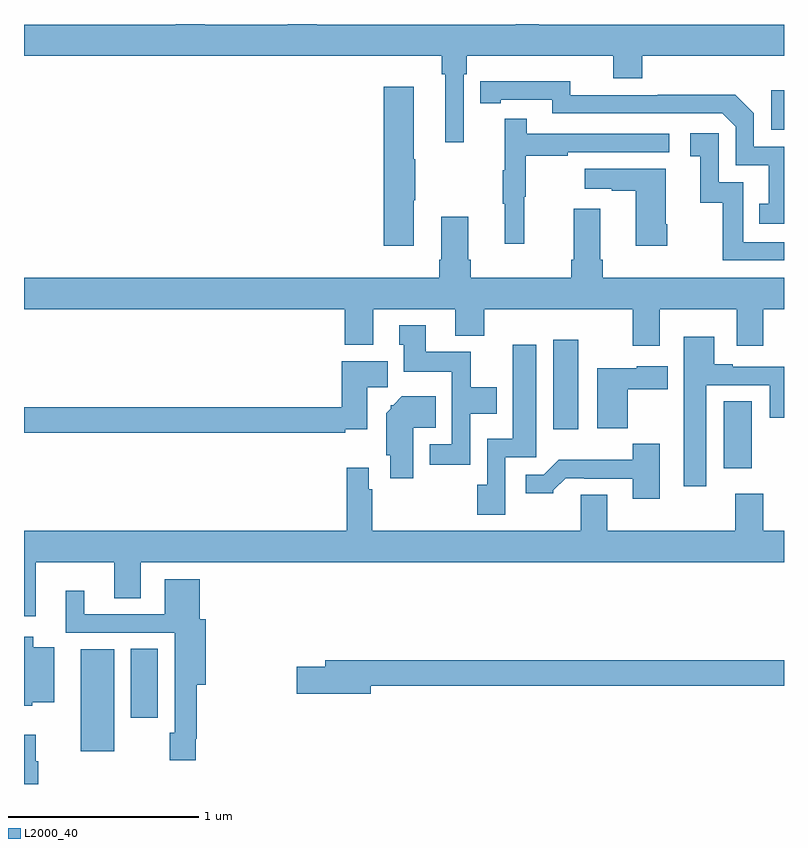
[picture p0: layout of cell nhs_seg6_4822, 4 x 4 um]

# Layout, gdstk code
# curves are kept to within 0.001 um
import gdstk
lib = gdstk.Library(unit=1e-6, precision=1e-09)
def R(c, l, rs):  # rectangles x0, y0, x1, y1
    for r in rs: c.add(gdstk.rectangle(r[:2], r[2:], *l))
def P(c, l, *ps):  # polygons
    for p in ps: c.add(gdstk.Polygon(p, *l))
L2000_40 = (2000, 40)

nhs_seg6_4822 = lib.new_cell('nhs_seg6_4822')
R(nhs_seg6_4822, L2000_40, [(397.298,947.672,397.474,948.208), (397.562,947.85,397.705,948.212), (400.682,949.161,400.831,949.514), (399.785,949.368,399.916,949.837), (400.932,950.943,401,951.151)])
P(nhs_seg6_4822, L2000_40, [(399.315,951.236),(399.329,951.236),(399.329,951.332),(400.1,951.332),(400.1,951.215),(400.253,951.215),(400.253,951.332),(401,951.332),(401,951.496),(399.709,951.496),(399.709,951.5),(399.588,951.5),(399.588,951.496),(398.54,951.496),(398.54,951.5),(398.387,951.5),(398.387,951.496),(397.951,951.496),(397.951,951.5),(397.799,951.5),(397.799,951.496),(397,951.496),(397,951.332),(399.199,951.332),(399.199,951.236),(399.218,951.236),(399.218,950.877),(399.315,950.877)],
  [(401,950.853),(400.842,950.853),(400.842,951.03),(400.744,951.128),(400.336,951.128),(400.336,951.126),(399.876,951.126),(399.876,951.199),(399.4,951.198),(399.4,951.082),(399.508,951.082),(399.508,951.102),(399.78,951.102),(399.78,951.03),(400.674,951.03),(400.746,950.958),(400.746,950.757),(400.919,950.757),(400.919,950.553),(400.87,950.553),(400.87,950.448),(401,950.448)],
  [(399.052,950.572),(399.06,950.572),(399.06,950.789),(399.052,950.789),(399.052,951.169),(398.894,951.169),(398.894,950.334),(399.052,950.334)],
  [(399.632,950.592),(399.64,950.592),(399.64,950.806),(399.863,950.806),(399.863,950.826),(400.396,950.826),(400.396,950.922),(399.647,950.922),(399.647,951.001),(399.53,951.001),(399.53,950.729),(399.519,950.729),(399.519,950.555),(399.53,950.555),(399.53,950.343),(399.632,950.343)],
  [(401,950.352),(400.785,950.352),(400.785,950.667),(400.656,950.667),(400.656,950.926),(400.506,950.926),(400.506,950.805),(400.559,950.805),(400.559,950.559),(400.677,950.559),(400.677,950.256),(401,950.256)],
  [(400.386,950.446),(400.378,950.446),(400.378,950.737),(399.951,950.737),(399.951,950.633),(400.094,950.633),(400.094,950.623),(400.22,950.623),(400.22,950.334),(400.386,950.334)],
  [(400.345,950),(400.751,950),(400.751,949.806),(400.891,949.806),(400.891,950),(401,950),(401,950.164),(400.046,950.164),(400.046,950.26),(400.033,950.26),(400.033,950.527),(399.893,950.527),(399.893,950.26),(399.881,950.26),(399.881,950.164),(399.35,950.164),(399.35,950.26),(399.337,950.26),(399.337,950.485),(399.197,950.485),(399.197,950.26),(399.185,950.26),(399.185,950.164),(397,950.164),(397,950),(398.687,950),(398.687,949.811),(398.839,949.811),(398.839,950),(399.269,950),(399.269,949.859),(399.422,949.859),(399.422,950),(400.205,950),(400.205,949.806),(400.345,949.806)],
  [(399.348,949.448),(399.487,949.448),(399.487,949.588),(399.351,949.588),(399.351,949.774),(399.115,949.774),(399.115,949.915),(398.975,949.915),(398.975,949.812),(398.999,949.812),(398.999,949.67),(399.252,949.67),(399.252,949.287),(399.135,949.287),(399.135,949.179),(399.348,949.179)],
  [(400.591,949.599),(400.925,949.599),(400.925,949.428),(401,949.428),(401,949.695),(400.729,949.695),(400.729,949.708),(400.633,949.708),(400.633,949.855),(400.472,949.855),(400.472,949.068),(400.591,949.068)],
  [(399.534,949.221),(399.697,949.221),(399.697,949.813),(399.572,949.813),(399.572,949.318),(399.438,949.318),(399.438,949.074),(399.386,949.074),(399.386,948.918),(399.534,948.918)],
  [(398.69,949.367),(398.806,949.367),(398.806,949.587),(398.914,949.587),(398.914,949.726),(398.672,949.726),(398.672,949.484),(397,949.484),(397,949.348),(398.69,949.348)],
  [(400.178,949.577),(400.387,949.577),(400.387,949.699),(400.224,949.699),(400.224,949.687),(400.016,949.687),(400.016,949.373),(400.178,949.373)],
  [(399.049,949.376),(399.167,949.376),(399.167,949.54),(398.989,949.54),(398.943,949.494),(398.931,949.494),(398.931,949.476),(398.906,949.451),(398.906,949.23),(398.927,949.23),(398.927,949.11),(399.049,949.11)],
  [(400.345,949.291),(400.203,949.291),(400.203,949.207),(399.814,949.207),(399.735,949.128),(399.642,949.128),(399.642,949.031),(399.786,949.031),(399.786,949.046),(399.85,949.11),(399.949,949.11),(399.949,949.107),(400.205,949.107),(400.205,949.002),(400.345,949.002)],
  [(397.063,948.668),(397.475,948.668),(397.475,948.478),(397.615,948.478),(397.615,948.668),(401,948.668),(401,948.832),(400.891,948.832),(400.891,949.027),(400.744,949.027),(400.744,948.832),(400.069,948.832),(400.069,949.022),(399.929,949.022),(399.929,948.832),(398.834,948.832),(398.834,949.052),(398.814,949.052),(398.814,949.165),(398.698,949.165),(398.698,948.832),(397,948.832),(397,948.384),(397.063,948.384)],
  [(397.903,947.737),(397.91,947.737),(397.91,948.023),(397.957,948.023),(397.957,948.367),(397.924,948.367),(397.924,948.577),(397.742,948.577),(397.742,948.393),(397.318,948.393),(397.318,948.517),(397.22,948.517),(397.22,948.297),(397.794,948.297),(397.794,947.769),(397.768,947.769),(397.768,947.625),(397.903,947.625)],
  [(397.044,947.93),(397.159,947.93),(397.159,948.22),(397.048,948.22),(397.048,948.274),(397,948.274),(397,947.912),(397.044,947.912)],
  [(398.824,948.016),(401,948.016),(401,948.152),(398.585,948.152),(398.585,948.116),(398.436,948.116),(398.436,947.974),(398.824,947.974)],
  [(397.076,947.621),(397.063,947.621),(397.063,947.758),(397,947.758),(397,947.5),(397.076,947.5)])

lib.write_gds('nhs_seg6_4822.gds')
